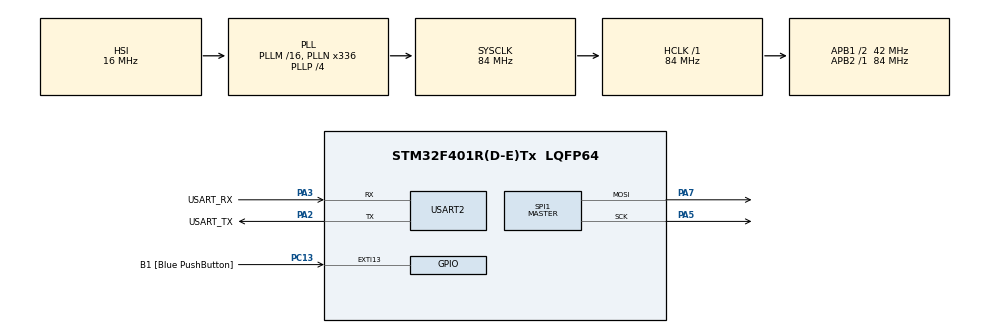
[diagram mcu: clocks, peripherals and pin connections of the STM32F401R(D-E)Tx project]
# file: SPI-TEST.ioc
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Mcu.Family=STM32F4
Mcu.Name=STM32F401R(D-E)Tx
Mcu.Package=LQFP64
NVIC.PriorityGroup=NVIC_PRIORITYGROUP_4
PA13.GPIO_Label=TMS
PA13.Mode=Trace_Asynchronous_SW
PA13.Signal=SYS_JTMS-SWDIO
PA14.GPIO_Label=TCK
PA14.Mode=Trace_Asynchronous_SW
PA14.Signal=SYS_JTCK-SWCLK
PA2.GPIO_Label=USART_TX
PA2.GPIO_Mode=GPIO_MODE_AF_PP
PA2.GPIO_PuPd=GPIO_NOPULL
PA2.GPIO_Speed=GPIO_SPEED_FREQ_LOW
PA2.Mode=Asynchronous
PA2.Signal=USART2_TX
PA3.GPIO_Label=USART_RX
PA3.GPIO_Mode=GPIO_MODE_AF_PP
PA3.GPIO_PuPd=GPIO_NOPULL
PA3.GPIO_Speed=GPIO_SPEED_FREQ_LOW
PA3.Mode=Asynchronous
PA3.Signal=USART2_RX
PA5.Mode=TX_Only_Simplex_Unidirect_Master
PA5.Signal=SPI1_SCK
PA7.Mode=TX_Only_Simplex_Unidirect_Master
PA7.Signal=SPI1_MOSI
PB3.GPIO_Label=SWO
PB3.Mode=Trace_Asynchronous_SW
PB3.Signal=SYS_JTDO-SWO
PC13-ANTI_TAMP.GPIO_Label=B1 [Blue PushButton]
PC13-ANTI_TAMP.GPIO_ModeDefaultEXTI=GPIO_MODE_IT_FALLING
PC13-ANTI_TAMP.GPIO_PuPd=GPIO_NOPULL
PC13-ANTI_TAMP.Signal=GPXTI13
PC14-OSC32_IN.Mode=LSE-External-Oscillator
PC14-OSC32_IN.Signal=RCC_OSC32_IN
PC15-OSC32_OUT.Mode=LSE-External-Oscillator
PC15-OSC32_OUT.Signal=RCC_OSC32_OUT
PH0\ -\ OSC_IN.Mode=HSE-External-Clock-Source
PH0\ -\ OSC_IN.Signal=RCC_OSC_IN
PH1\ -\ OSC_OUT.Mode=HSE-External-Clock-Source
PH1\ -\ OSC_OUT.Signal=RCC_OSC_OUT
ProjectManager.HeapSize=0x200
ProjectManager.StackSize=0x400
ProjectManager.TargetToolchain=STM32CubeIDE
RCC.48MHZClocksFreq_Value=48000000
RCC.AHBFreq_Value=84000000
RCC.APB1CLKDivider=RCC_HCLK_DIV2
RCC.APB1Freq_Value=42000000
RCC.APB1TimFreq_Value=84000000
RCC.APB2Freq_Value=84000000
RCC.APB2TimFreq_Value=84000000
RCC.CortexFreq_Value=84000000
RCC.HCLKFreq_Value=84000000
RCC.HSE_VALUE=8000000
RCC.HSI_VALUE=16000000
RCC.PLLN=336
RCC.PLLP=RCC_PLLP_DIV4
RCC.PLLQ=7
RCC.SYSCLKFreq_VALUE=84000000
RCC.SYSCLKSource=RCC_SYSCLKSOURCE_PLLCLK
RCC.VCOOutputFreq_Value=336000000
SPI1.Direction=SPI_DIRECTION_2LINES
SPI1.Mode=SPI_MODE_MASTER
SPI1.VirtualType=VM_MASTER
USART2.VirtualMode=VM_ASYNC
board=NUCLEO-F401RE

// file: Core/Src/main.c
/* USER CODE BEGIN Header */
/**
  ******************************************************************************
  * @file           : main.c
  * @brief          : Main program body
  ******************************************************************************
  * @attention
  *
  * Copyright (c) 2025 STMicroelectronics.
  * All rights reserved.
  *
  * This software is licensed under terms that can be found in the LICENSE file
  * in the root directory of this software component.
  * If no LICENSE file comes with this software, it is provided AS-IS.
  *
  ******************************************************************************
  */
/* USER CODE END Header */
#include "main.h"

/* USER CODE BEGIN Includes */
#include "stm32f4xx_hal_spi.h"
#include <stdlib.h>
/* USER CODE END Includes */

SPI_HandleTypeDef hspi1;
UART_HandleTypeDef huart2;

void SystemClock_Config(void);
static void MX_GPIO_Init(void);
static void MX_USART2_UART_Init(void);
static void MX_SPI1_Init(void);

int main(void)
{

  /* USER CODE BEGIN 1 */

	//SLCK PA5
	GPIOA->MODER &= ~GPIO_MODER_MODER5;
	GPIOA->MODER |= 0x1<<GPIO_MODER_MODER5_Pos;//output
	GPIOA->PUPDR &= ~GPIO_PUPDR_PUPDR5; //floating
	GPIOA->OTYPER &= ~GPIO_OTYPER_OT5; //push-pull
	GPIOA->OSPEEDR &= ~GPIO_OSPEEDR_OSPEED5; //low speed
	GPIOA->OSPEEDR |= 0x2<<GPIO_OSPEEDR_OSPEED5_Pos;  //high speed

	//MISO PA7
	GPIOA->MODER &= ~GPIO_MODER_MODER7;
	GPIOA->MODER |= 0x1<<GPIO_MODER_MODER7_Pos;//output
	GPIOA->PUPDR &= ~GPIO_PUPDR_PUPDR7; //floating
	GPIOA->OTYPER &= ~GPIO_OTYPER_OT7; //push-pull
	GPIOA->OSPEEDR &= ~GPIO_OSPEEDR_OSPEED7; //low speed
	GPIOA->OSPEEDR |= 0x2<<GPIO_OSPEEDR_OSPEED7_Pos;  //high speed

	//SS1 PA9
	GPIOA->MODER &= ~GPIO_MODER_MODER9;
	GPIOA->MODER |= 0x1<<GPIO_MODER_MODER9_Pos;//output
	GPIOA->PUPDR &= ~GPIO_PUPDR_PUPD9;
	GPIOA->PUPDR |= 0x1<<GPIO_PUPDR_PUPD9_Pos;//pull up
	GPIOA->OTYPER &= ~GPIO_OTYPER_OT9; //push-pull
	GPIOA->OSPEEDR &= ~GPIO_OSPEEDR_OSPEED9; //low speed
	GPIOA->OSPEEDR |= 0x2<<GPIO_OSPEEDR_OSPEED9_Pos;  //high speed

	RCC->AHB1ENR |= RCC_AHB1ENR_GPIOAEN;
	__NVIC_EnableIRQ(EXTI4_IRQn); //CMSIS function
	__NVIC_SetPriority(EXTI4_IRQn, 0);

	//SPI1 CONFIGS
	printf("%x",SPI1->SR);
	SPI1->CR1 &= ~SPI_CR1_DFF;  //RESET FOR 8 BIT COMMUNICATION
	SPI1->CR1 &= ~SPI_CR1_CPOL; //LOW CLOCK POLARITY
	SPI1->CR1 &= ~SPI_CR1_CPHA; //FIRST DATA EDGE (RISE)
	SPI1->CR1 |= SPI_CR1_BIDIMODE;
	SPI1->CR1 |= SPI_CR1_BIDIOE;
	SPI1->CR1 |= ~SPI_CR1_BR; //assign 111 to CR1_BR Baud Rate = CLK/256

	//Interrupt CONFIGS
	//let PA15 EXT15 be external interrupt pin rising edge
	RCC->APB2ENR |= (RCC_APB2ENR_SYSCFGEN);
	SYSCFG->EXTICR[4] &= (~SYSCFG_EXTICR4_EXTI15);
	//SYSCFG->EXTICR[4] |= SYSCFG_EXTICR4_EXTI15_PA; clearing 3:0 bits will enable PA pin anyways (0x0)
	EXTI->IMR |= 1<<15;
	EXTI->RTSR |= EXTI_RTSR_TR15;
	EXTI->FTSR &= ~EXTI_FTSR_TR15;

  /* USER CODE END 1 */

  /* MCU Configuration--------------------------------------------------------*/

  /* Reset of all peripherals, Initializes the Flash interface and the Systick. */
  HAL_Init();

  /* Configure the system clock */
  SystemClock_Config();

  /* Initialize all configured peripherals */
  //MX_GPIO_Init();
  MX_USART2_UART_Init();
  MX_SPI1_Init();
  /* USER CODE BEGIN 2 */

  RCC -> AHB1ENR |= RCC_AHB1ENR_GPIOBEN;
  GPIOB->MODER &= ~(GPIO_MODER_MODER1); //SET PA1 TO OUTPUT ON, OR SET ALL BITS TO 00
  GPIOB->BSRR = GPIO_BSRR_BR1; //send "set pin" tick signal
  GPIOB-> MODER &= ~(GPIO_MODER_MODER1);

  GPIOB->MODER &= ~(GPIO_MODER_MODER2);
  GPIOB->MODER |= GPIO_MODER_MODER2_1;
  GPIOB->PUPDR &= ~(GPIO_PUPDR_PUPD2);
  GPIOB->PUPDR |= GPIO_PUPDR_PUPD2_1;

  //keep ss1 high before writing

  SPI_SS1_SELECT();

  uint8_t data_buf[] = { 0x4A }
  uint8_t length = 1; //byte

  HAL_SPI_Transmit_IT(&hspi1, data_buf, length, 1000);

  /* USER CODE END 2 */

  /* Infinite loop */
  /* USER CODE BEGIN WHILE */

  while (1)
  {
	  switch(state)
	  {
	  case 0:
		  SPI_SS1_SELECT();

    /* USER CODE END WHILE */

  }
}

void SystemClock_Config(void)
{
  RCC_OscInitTypeDef RCC_OscInitStruct = {0};
  RCC_ClkInitTypeDef RCC_ClkInitStruct = {0};

  /** Configure the main internal regulator output voltage
  */
  __HAL_RCC_PWR_CLK_ENABLE();
  __HAL_PWR_VOLTAGESCALING_CONFIG(PWR_REGULATOR_VOLTAGE_SCALE2);

  /** Initializes the RCC Oscillators according to the specified parameters
  * in the RCC_OscInitTypeDef structure.
  */
  RCC_OscInitStruct.OscillatorType = RCC_OSCILLATORTYPE_HSI;
  RCC_OscInitStruct.HSIState = RCC_HSI_ON;
  RCC_OscInitStruct.HSICalibrationValue = RCC_HSICALIBRATION_DEFAULT;
  RCC_OscInitStruct.PLL.PLLState = RCC_PLL_ON;
  RCC_OscInitStruct.PLL.PLLSource = RCC_PLLSOURCE_HSI;
  RCC_OscInitStruct.PLL.PLLM = 16;
  RCC_OscInitStruct.PLL.PLLN = 336;
  RCC_OscInitStruct.PLL.PLLP = RCC_PLLP_DIV4;
  RCC_OscInitStruct.PLL.PLLQ = 7;
  if (HAL_RCC_OscConfig(&RCC_OscInitStruct) != HAL_OK)
  {
    Error_Handler();
  }

  /** Initializes the CPU, AHB and APB buses clocks
  */
  RCC_ClkInitStruct.ClockType = RCC_CLOCKTYPE_HCLK|RCC_CLOCKTYPE_SYSCLK
                              |RCC_CLOCKTYPE_PCLK1|RCC_CLOCKTYPE_PCLK2;
  RCC_ClkInitStruct.SYSCLKSource = RCC_SYSCLKSOURCE_PLLCLK;
  RCC_ClkInitStruct.AHBCLKDivider = RCC_SYSCLK_DIV1;
  RCC_ClkInitStruct.APB1CLKDivider = RCC_HCLK_DIV2;
  RCC_ClkInitStruct.APB2CLKDivider = RCC_HCLK_DIV1;

  if (HAL_RCC_ClockConfig(&RCC_ClkInitStruct, FLASH_LATENCY_2) != HAL_OK)
  {
    Error_Handler();
  }
}

static void MX_SPI1_Init(void)
{

  /* SPI1 parameter configuration*/
  hspi1.Instance = SPI1;
  hspi1.Init.Mode = SPI_MODE_MASTER;
  hspi1.Init.Direction = SPI_DIRECTION_2LINES;
  hspi1.Init.DataSize = SPI_DATASIZE_8BIT;
  hspi1.Init.CLKPolarity = SPI_POLARITY_LOW;
  hspi1.Init.CLKPhase = SPI_PHASE_1EDGE;
  hspi1.Init.NSS = SPI_NSS_SOFT;
  hspi1.Init.BaudRatePrescaler = SPI_BAUDRATEPRESCALER_2;
  hspi1.Init.FirstBit = SPI_FIRSTBIT_MSB;
  hspi1.Init.TIMode = SPI_TIMODE_DISABLE;
  hspi1.Init.CRCCalculation = SPI_CRCCALCULATION_DISABLE;
  hspi1.Init.CRCPolynomial = 10;
  if (HAL_SPI_Init(&hspi1) != HAL_OK)
  {
    Error_Handler();
  }

}

static void MX_USART2_UART_Init(void)
{

  huart2.Instance = USART2;
  huart2.Init.BaudRate = 115200;
  huart2.Init.WordLength = UART_WORDLENGTH_8B;
  huart2.Init.StopBits = UART_STOPBITS_1;
  huart2.Init.Parity = UART_PARITY_NONE;
  huart2.Init.Mode = UART_MODE_TX_RX;
  huart2.Init.HwFlowCtl = UART_HWCONTROL_NONE;
  huart2.Init.OverSampling = UART_OVERSAMPLING_16;
  if (HAL_UART_Init(&huart2) != HAL_OK)
  {
    Error_Handler();
  }

}

static void MX_GPIO_Init(void)
{
  GPIO_InitTypeDef GPIO_InitStruct = {0};

  /* GPIO Ports Clock Enable */
  __HAL_RCC_GPIOC_CLK_ENABLE();
  __HAL_RCC_GPIOH_CLK_ENABLE();
  __HAL_RCC_GPIOA_CLK_ENABLE();
  __HAL_RCC_GPIOB_CLK_ENABLE();

  /*Configure GPIO pin : B1_Pin */
  GPIO_InitStruct.Pin = B1_Pin;
  GPIO_InitStruct.Mode = GPIO_MODE_IT_FALLING;
  GPIO_InitStruct.Pull = GPIO_NOPULL;
  HAL_GPIO_Init(B1_GPIO_Port, &GPIO_InitStruct);

/* USER CODE BEGIN MX_GPIO_Init_2 */
  GPIO_InitStruct.Pin = SPI_SS1_PIN;
  GPIO_InitStruct.Mode = GPIO_MODE_OUTPUT_PP;
  GPIO_InitStruct.Pull = GPIO_NOPULL;
  GPIO_InitStruct.Speed = GPIO_SPEED_FREQ_LOW;
  HAL_GPIO_Init(SPI_SS1_PORT, &GPIO_InitStruct);

/* USER CODE END MX_GPIO_Init_2 */
}

void Error_Handler(void)
{
  __disable_irq();
  while (1)
  {
  }
}
